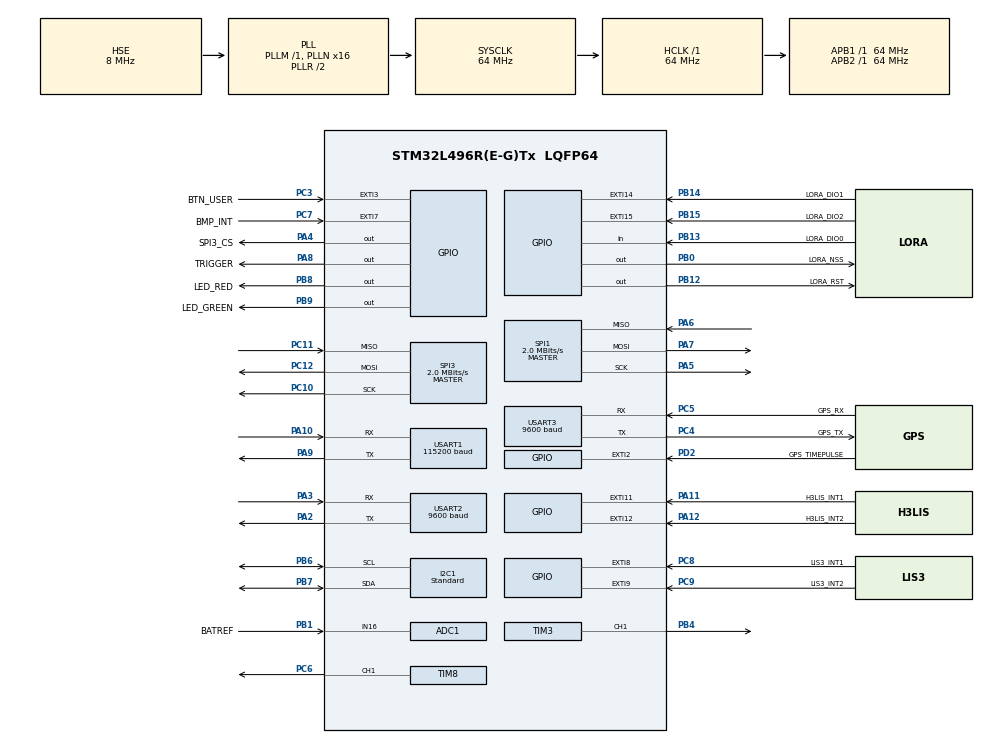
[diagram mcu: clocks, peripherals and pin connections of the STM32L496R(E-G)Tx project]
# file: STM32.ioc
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ADC1.Channel-0\#ChannelRegularConversion=ADC_CHANNEL_16
ADC1.NbrOfConversionFlag=1
ADC1.OffsetNumber-0\#ChannelRegularConversion=ADC_OFFSET_NONE
ADC1.Rank-0\#ChannelRegularConversion=1
ADC1.SamplingTime-0\#ChannelRegularConversion=ADC_SAMPLETIME_2CYCLES_5
ADC1.master=1
Dma.Request0=TIM8_CH1
Dma.TIM8_CH1.0.Direction=DMA_MEMORY_TO_PERIPH
Dma.TIM8_CH1.0.Instance=DMA2_Channel6
Dma.TIM8_CH1.0.MemDataAlignment=DMA_MDATAALIGN_HALFWORD
Dma.TIM8_CH1.0.MemInc=DMA_MINC_ENABLE
Dma.TIM8_CH1.0.Mode=DMA_NORMAL
Dma.TIM8_CH1.0.PeriphDataAlignment=DMA_PDATAALIGN_HALFWORD
Dma.TIM8_CH1.0.PeriphInc=DMA_PINC_DISABLE
Dma.TIM8_CH1.0.Priority=DMA_PRIORITY_LOW
FREERTOS.BinarySemaphores01=GPS_Task_Semaphore,Static,GPS_Task_SemaphoreControlBlock;Sensor_Buffer_Semaphore,Static,LoRa_Send_SemaphoreControlBlock;GPS_Buffer_Semaphore,Static,GPS_Buffer_SemaphoreControlBlock
FREERTOS.MEMORY_ALLOCATION=2
FREERTOS.Tasks01=defaultTask,0,4096,StartDefaultTask,Default,NULL,Static,defaultTaskBuffer,defaultTaskControlBlock;sensorReadTask,0,1024,StartSensorReadTask,Default,NULL,Static,sensorReadTaskBuffer,sensorReadTaskControlBlock;gpsParsingTask,-3,1024,startGpsParsingTask,Default,NULL,Static,gpsParsingTaskBuffer,gpsParsingTaskControlBlock;uartTask,-3,2048,StartUartTask,Default,NULL,Static,uartTaskBuffer,uartTaskControlBlock;sdCardTask,-3,4096,startSdCardTask,Default,NULL,Static,sdCardTaskBuffer,sdCardTaskControlBlock
FREERTOS.configCHECK_FOR_STACK_OVERFLOW=1
FREERTOS.configMINIMAL_STACK_SIZE=256
FREERTOS.configTOTAL_HEAP_SIZE=8192
FREERTOS.configUSE_COUNTING_SEMAPHORES=1
FREERTOS.configUSE_MALLOC_FAILED_HOOK=1
FREERTOS.configUSE_NEWLIB_REENTRANT=1
I2C1.I2C_Speed_Mode=I2C_Standard
I2C1.Timing=0x10707DBC
Mcu.Family=STM32L4
Mcu.Name=STM32L496R(E-G)Tx
Mcu.Package=LQFP64
NVIC.DMA2_Channel6_IRQn=true\:5\:0\:false\:false\:true\:true\:false\:true\:true
NVIC.PriorityGroup=NVIC_PRIORITYGROUP_4
NVIC.TIM1_BRK_TIM15_IRQn=true\:5\:0\:false\:false\:true\:true\:true\:true\:true
NVIC.TIM1_TRG_COM_TIM17_IRQn=true\:5\:0\:false\:false\:true\:true\:true\:true\:true
NVIC.TIM1_UP_TIM16_IRQn=true\:5\:0\:false\:false\:true\:true\:true\:true\:true
NVIC.TIM2_IRQn=true\:15\:0\:false\:false\:true\:false\:false\:true\:true
NVIC.TIM3_IRQn=true\:5\:0\:false\:false\:true\:true\:true\:true\:true
NVIC.TimeBase=TIM2_IRQn
NVIC.TimeBaseIP=TIM2
NVIC.USART1_IRQn=true\:5\:0\:false\:false\:true\:true\:true\:true\:true
NVIC.USART2_IRQn=true\:5\:0\:false\:false\:true\:true\:true\:true\:true
NVIC.USART3_IRQn=true\:5\:0\:false\:false\:true\:true\:true\:true\:true
PA0.Signal=USART2_CTS
PA1.Signal=USART2_RTS
PA10.Mode=Asynchronous
PA10.Signal=USART1_RX
PA11.GPIO_Label=H3LIS_INT1
PA11.Signal=GPXTI11
PA12.GPIO_Label=H3LIS_INT2
PA12.Signal=GPXTI12
PA2.Mode=Asynchronous
PA2.Signal=USART2_TX
PA3.Mode=Asynchronous
PA3.Signal=USART2_RX
PA4.GPIO_Label=SPI3_CS
PA4.Signal=GPIO_Output
PA5.Mode=Full_Duplex_Master
PA5.Signal=SPI1_SCK
PA6.Mode=Full_Duplex_Master
PA6.Signal=SPI1_MISO
PA7.Mode=Full_Duplex_Master
PA7.Signal=SPI1_MOSI
PA8.GPIO_Label=TRIGGER
PA8.GPIO_PuPd=GPIO_PULLUP
PA8.Signal=GPIO_Output
PA9.Mode=Asynchronous
PA9.Signal=USART1_TX
PB0.GPIO_Label=LORA_NSS
PB0.GPIO_PuPd=GPIO_PULLUP
PB0.PinState=GPIO_PIN_SET
PB0.Signal=GPIO_Output
PB1.GPIO_Label=BATREF
PB1.Signal=ADCx_IN16
PB12.GPIO_Label=LORA_RST
PB12.PinState=GPIO_PIN_SET
PB12.Signal=GPIO_Output
PB13.GPIO_Label=LORA_DIO0
PB13.Signal=GPIO_Input
PB14.GPIO_Label=LORA_DIO1
PB14.Signal=GPXTI14
PB15.GPIO_Label=LORA_DIO2
PB15.Signal=GPXTI15
PB4\ (NJTRST).Signal=S_TIM3_CH1
PB6.Mode=I2C
PB6.Signal=I2C1_SCL
PB7.Mode=I2C
PB7.Signal=I2C1_SDA
PB8.GPIO_Label=LED_RED
PB8.Signal=GPIO_Output
PB9.GPIO_Label=LED_GREEN
PB9.Signal=GPIO_Output
PC10.Mode=Full_Duplex_Master
PC10.Signal=SPI3_SCK
PC11.Mode=Full_Duplex_Master
PC11.Signal=SPI3_MISO
PC12.Mode=Full_Duplex_Master
PC12.Signal=SPI3_MOSI
PC14-OSC32_IN\ (PC14).Mode=LSE-External-Oscillator
PC14-OSC32_IN\ (PC14).Signal=RCC_OSC32_IN
PC15-OSC32_OUT\ (PC15).Mode=LSE-External-Oscillator
PC15-OSC32_OUT\ (PC15).Signal=RCC_OSC32_OUT
PC3.GPIO_Label=BTN_USER
PC3.Signal=GPXTI3
PC4.GPIO_Label=GPS_TX
PC4.Mode=Asynchronous
PC4.Signal=USART3_TX
PC5.GPIO_Label=GPS_RX
PC5.Mode=Asynchronous
PC5.Signal=USART3_RX
PC6.Signal=S_TIM8_CH1
PC7.GPIO_Label=BMP_INT
PC7.Signal=GPXTI7
PC8.GPIO_Label=LIS3_INT1
PC8.Signal=GPXTI8
PC9.GPIO_Label=LIS3_INT2
PC9.Signal=GPXTI9
PD2.GPIO_Label=GPS_TIMEPULSE
PD2.Signal=GPXTI2
PH0-OSC_IN\ (PH0).Mode=HSE-External-Oscillator
PH0-OSC_IN\ (PH0).Signal=RCC_OSC_IN
PH1-OSC_OUT\ (PH1).Mode=HSE-External-Oscillator
PH1-OSC_OUT\ (PH1).Signal=RCC_OSC_OUT
ProjectManager.HeapSize=0x2000
ProjectManager.StackSize=0x4000
ProjectManager.TargetToolchain=STM32CubeIDE
RCC.ADCFreq_Value=32000000
RCC.AHBFreq_Value=64000000
RCC.APB1Freq_Value=64000000
RCC.APB1TimFreq_Value=64000000
RCC.APB2Freq_Value=64000000
RCC.APB2TimFreq_Value=64000000
RCC.CortexFreq_Value=64000000
RCC.HCLKFreq_Value=64000000
RCC.HSE_VALUE=8000000
RCC.HSI48_VALUE=48000000
RCC.HSI_VALUE=16000000
RCC.MSI_VALUE=4000000
RCC.PLLN=16
RCC.PLLSourceVirtual=RCC_PLLSOURCE_HSE
RCC.SYSCLKFreq_VALUE=64000000
RCC.SYSCLKSource=RCC_SYSCLKSOURCE_PLLCLK
RCC.USBFreq_Value=32000000
RCC.VCOOutputFreq_Value=128000000
SH.ADCx_IN16.0=ADC1_IN16,IN16-Single-Ended
SH.S_TIM3_CH1.0=TIM3_CH1,PWM Generation1 CH1
SH.S_TIM8_CH1.0=TIM8_CH1,PWM Generation1 CH1
SPI1.BaudRatePrescaler=SPI_BAUDRATEPRESCALER_32
SPI1.CalculateBaudRate=2.0 MBits/s
SPI1.DataSize=SPI_DATASIZE_8BIT
SPI1.Direction=SPI_DIRECTION_2LINES
SPI1.Mode=SPI_MODE_MASTER
SPI1.NSSPMode=SPI_NSS_PULSE_DISABLE
SPI1.VirtualType=VM_MASTER
SPI3.BaudRatePrescaler=SPI_BAUDRATEPRESCALER_32
SPI3.CalculateBaudRate=2.0 MBits/s
SPI3.DataSize=SPI_DATASIZE_8BIT
SPI3.Direction=SPI_DIRECTION_2LINES
SPI3.Mode=SPI_MODE_MASTER
SPI3.VirtualType=VM_MASTER
TIM15.ClockDivision=TIM_CLOCKDIVISION_DIV1
TIM15.Period=65501
TIM15.Prescaler=58623
TIM16.Period=62499
TIM16.Prescaler=1023
TIM17.Period=63999
TIM3.Channel-PWM\ Generation1\ CH1=TIM_CHANNEL_1
TIM3.Period=20000
TIM8.Channel-PWM\ Generation1\ CH1=TIM_CHANNEL_1
TIM8.OCPolarity_1=TIM_OCPOLARITY_LOW
TIM8.Period=3000
TIM8.Prescaler=64000-1
USART1.BaudRate=115200
USART1.VirtualMode-Asynchronous=VM_ASYNC
USART2.BaudRate=9600
USART2.VirtualMode-Asynchronous=VM_ASYNC
USART3.BaudRate=9600
USART3.VirtualMode-Asynchronous=VM_ASYNC
VP_FATFS_VS_Generic.Mode=User_defined
VP_FREERTOS_VS_CMSIS_V1.Mode=CMSIS_V1
VP_SYS_VS_tim2.Mode=TIM2
VP_TIM15_VS_OPM.Mode=OPM_bit
VP_TIM16_VS_ClockSourceINT.Mode=Enable_Timer
VP_TIM17_VS_ClockSourceINT.Mode=Enable_Timer
VP_TIM3_VS_ClockSourceINT.Mode=Internal
VP_TIM8_VS_ClockSourceINT.Mode=Internal
board=custom

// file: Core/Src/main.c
/* USER CODE BEGIN Header */
/**
  ******************************************************************************
  * @file           : main.c
  * @brief          : Main program body
  ******************************************************************************
  * @attention
  *
  * Copyright (c) 2024 STMicroelectronics.
  * All rights reserved.
  *
  * This software is licensed under terms that can be found in the LICENSE file
  * in the root directory of this software component.
  * If no LICENSE file comes with this software, it is provided AS-IS.
  *
  ******************************************************************************
  */
/* USER CODE END Header */
#include "main.h"
#include "cmsis_os.h"
#include "fatfs.h"

/* USER CODE BEGIN Includes */

#include "lis3dh_reg.h"
#include "BMP390.h"
#include "debug_printf.h"
#include <stdio.h>
#include "indicator_utils.h"
#include "SX1278.h"
#include "gps_driver.h"
#include "lora_handler.h"
#include "sensors_handler.h"
#include "uart_nrf52.h"
#include "device_config.h"
#include "sd_card_handler.h"

/* USER CODE END Includes */

ADC_HandleTypeDef hadc1;

I2C_HandleTypeDef hi2c1;

SPI_HandleTypeDef hspi1;
SPI_HandleTypeDef hspi3;

TIM_HandleTypeDef htim3;
TIM_HandleTypeDef htim8;
TIM_HandleTypeDef htim15;
TIM_HandleTypeDef htim16;
TIM_HandleTypeDef htim17;
DMA_HandleTypeDef hdma_tim8_ch1;

UART_HandleTypeDef huart1;
UART_HandleTypeDef huart2;
UART_HandleTypeDef huart3;

osThreadId defaultTaskHandle;
uint32_t defaultTaskBuffer[ 4096 ];
osStaticThreadDef_t defaultTaskControlBlock;
osThreadId sensorReadTaskHandle;
uint32_t sensorReadTaskBuffer[ 1024 ];
osStaticThreadDef_t sensorReadTaskControlBlock;
osThreadId gpsParsingTaskHandle;
uint32_t gpsParsingTaskBuffer[ 1024 ];
osStaticThreadDef_t gpsParsingTaskControlBlock;
osThreadId uartTaskHandle;
uint32_t uartTaskBuffer[ 2048 ];
osStaticThreadDef_t uartTaskControlBlock;
osThreadId sdCardTaskHandle;
uint32_t sdCardTaskBuffer[ 4096 ];
osStaticThreadDef_t sdCardTaskControlBlock;
osSemaphoreId GPS_Task_SemaphoreHandle;
osStaticSemaphoreDef_t GPS_Task_SemaphoreControlBlock;
osSemaphoreId Sensor_Buffer_SemaphoreHandle;
osStaticSemaphoreDef_t LoRa_Send_SemaphoreControlBlock;
osSemaphoreId GPS_Buffer_SemaphoreHandle;
osStaticSemaphoreDef_t GPS_Buffer_SemaphoreControlBlock;
/* USER CODE BEGIN PV */

extern volatile bool tx_lock;
extern DeviceConfig device_config;

/* USER CODE END PV */

void SystemClock_Config(void);
static void MX_GPIO_Init(void);
static void MX_DMA_Init(void);
static void MX_I2C1_Init(void);
static void MX_SPI1_Init(void);
static void MX_SPI3_Init(void);
static void MX_USART2_UART_Init(void);
static void MX_USART3_UART_Init(void);
static void MX_TIM8_Init(void);
static void MX_USART1_UART_Init(void);
static void MX_TIM17_Init(void);
static void MX_TIM3_Init(void);
static void MX_TIM16_Init(void);
static void MX_ADC1_Init(void);
static void MX_TIM15_Init(void);
void StartDefaultTask(void const * argument);
void StartSensorReadTask(void const * argument);
void startGpsParsingTask(void const * argument);
void StartUartTask(void const * argument);
void startSdCardTask(void const * argument);

/* USER CODE BEGIN 0 */

// Map printf to UART
int _write(int file, char *ptr, int len) {
    HAL_UART_Transmit_IT(&huart1, (uint8_t *) ptr, len);
    return len;
}

void HAL_UART_TxCpltCallback(UART_HandleTypeDef *huart)
{
    if (huart->Instance == USART1)
    {
        // Transmission completed
    }
    if(huart->Instance == USART2) {
        tx_lock = false;
    }

}

uint8_t usart3_rx_buff[1];
void HAL_UART_RxCpltCallback(UART_HandleTypeDef *huart)
{
    if(huart->Instance == USART3) {
//        printf("%c", Rx_data[0]);
        gps_uart_callback(usart3_rx_buff[0]);
        HAL_UART_Receive_IT(&huart3, usart3_rx_buff, 1);
    }
    if(huart->Instance == USART2) {
        on_nrf_uart_receive();
    }
}

/* USER CODE END 0 */

int main(void)
{

  /* MCU Configuration--------------------------------------------------------*/

  /* Reset of all peripherals, Initializes the Flash interface and the Systick. */
  HAL_Init();

  /* Configure the system clock */
  SystemClock_Config();

  /* Initialize all configured peripherals */
  MX_GPIO_Init();
  MX_DMA_Init();
  MX_I2C1_Init();
  MX_SPI1_Init();
  MX_SPI3_Init();
  MX_USART2_UART_Init();
  MX_USART3_UART_Init();
  MX_TIM8_Init();
  MX_USART1_UART_Init();
  MX_FATFS_Init();
  MX_TIM17_Init();
  MX_TIM3_Init();
  MX_TIM16_Init();
  MX_ADC1_Init();
  MX_TIM15_Init();
  /* USER CODE BEGIN 2 */

    // Start by loading the configuration from flash
    load_device_config();

    // Print out the loaded configuration
    debugPrint("Loaded configuration: \n");
    HAL_Delay(2);
    debugPrintf("LoRa Frequency: %lu\n", device_config.lora_frequency);
    HAL_Delay(2);
    debugPrintf("LoRa TX Power: %u\n", device_config.lora_tx_power);
    HAL_Delay(2);
    debugPrintf("LoRa Bandwidth: %lu\n", device_config.lora_bandwidth);
    HAL_Delay(2);
    debugPrintf("LoRa Sync Word: %u\n", device_config.lora_sync_word);
    HAL_Delay(2);
    debugPrintf("LoRa Spreading Factor: %u\n", device_config.lora_spreading_factor);
    HAL_Delay(2);

    // Initialize the lora module
    lora_handler_init();
    HAL_TIM_Base_Start_IT(&htim16);

    // Initialize the sensors
    sensors_init();

    // PWM configuration for INDICATOR
    TIM8->CCR1 = 200; // This is the duty cycle (2800/3000 = 93.3% of time o// n, 6.7% of time off - and it lights when it is off)
    HAL_TIM_PWM_Start(&htim8, TIM_CHANNEL_1);

    // PWM configuration for PIEZO
    TIM3->CCR1 = 14000;
//    HAL_TIM_PWM_Start(&htim3, TIM_CHANNEL_1); // Do not start the PWM right away.

    // Initialize comm to nRF52
    init_nrf_uart_comm();

    // Start callback listeners etc.
    disable_unused_nmea_sentences(&huart3); // Send a command to GPS module to disable unused NMEA sentences
    HAL_UART_Receive_IT (&huart3, usart3_rx_buff, 1); // Receive buffer for GPS data

  /* USER CODE END 2 */

  /* Create the semaphores(s) */
  /* definition and creation of GPS_Task_Semaphore */
  osSemaphoreStaticDef(GPS_Task_Semaphore, &GPS_Task_SemaphoreControlBlock);
  GPS_Task_SemaphoreHandle = osSemaphoreCreate(osSemaphore(GPS_Task_Semaphore), 1);

  /* definition and creation of Sensor_Buffer_Semaphore */
  osSemaphoreStaticDef(Sensor_Buffer_Semaphore, &LoRa_Send_SemaphoreControlBlock);
  Sensor_Buffer_SemaphoreHandle = osSemaphoreCreate(osSemaphore(Sensor_Buffer_Semaphore), 1);

  /* definition and creation of GPS_Buffer_Semaphore */
  osSemaphoreStaticDef(GPS_Buffer_Semaphore, &GPS_Buffer_SemaphoreControlBlock);
  GPS_Buffer_SemaphoreHandle = osSemaphoreCreate(osSemaphore(GPS_Buffer_Semaphore), 1);

  /* Create the thread(s) */
  /* definition and creation of defaultTask */
  osThreadStaticDef(defaultTask, StartDefaultTask, osPriorityNormal, 0, 4096, defaultTaskBuffer, &defaultTaskControlBlock);
  defaultTaskHandle = osThreadCreate(osThread(defaultTask), NULL);

  /* definition and creation of sensorReadTask */
  osThreadStaticDef(sensorReadTask, StartSensorReadTask, osPriorityNormal, 0, 1024, sensorReadTaskBuffer, &sensorReadTaskControlBlock);
  sensorReadTaskHandle = osThreadCreate(osThread(sensorReadTask), NULL);

  /* definition and creation of gpsParsingTask */
  osThreadStaticDef(gpsParsingTask, startGpsParsingTask, osPriorityIdle, 0, 1024, gpsParsingTaskBuffer, &gpsParsingTaskControlBlock);
  gpsParsingTaskHandle = osThreadCreate(osThread(gpsParsingTask), NULL);

  /* definition and creation of uartTask */
  osThreadStaticDef(uartTask, StartUartTask, osPriorityIdle, 0, 2048, uartTaskBuffer, &uartTaskControlBlock);
  uartTaskHandle = osThreadCreate(osThread(uartTask), NULL);

  /* definition and creation of sdCardTask */
  osThreadStaticDef(sdCardTask, startSdCardTask, osPriorityIdle, 0, 4096, sdCardTaskBuffer, &sdCardTaskControlBlock);
  sdCardTaskHandle = osThreadCreate(osThread(sdCardTask), NULL);

  /* Start scheduler */
  osKernelStart();

  /* We should never get here as control is now taken by the scheduler */
  /* Infinite loop */
  while (1)
  {

    /* USER CODE BEGIN 3 */
//    printf("Hello, world!\n");
    osDelay(1000);
  }
  /* USER CODE END 3 */
}

void SystemClock_Config(void)
{
  RCC_OscInitTypeDef RCC_OscInitStruct = {0};
  RCC_ClkInitTypeDef RCC_ClkInitStruct = {0};

  /** Configure the main internal regulator output voltage
  */
  if (HAL_PWREx_ControlVoltageScaling(PWR_REGULATOR_VOLTAGE_SCALE1) != HAL_OK)
  {
    Error_Handler();
  }

  /** Initializes the RCC Oscillators according to the specified parameters
  * in the RCC_OscInitTypeDef structure.
  */
  RCC_OscInitStruct.OscillatorType = RCC_OSCILLATORTYPE_HSE;
  RCC_OscInitStruct.HSEState = RCC_HSE_ON;
  RCC_OscInitStruct.PLL.PLLState = RCC_PLL_ON;
  RCC_OscInitStruct.PLL.PLLSource = RCC_PLLSOURCE_HSE;
  RCC_OscInitStruct.PLL.PLLM = 1;
  RCC_OscInitStruct.PLL.PLLN = 16;
  RCC_OscInitStruct.PLL.PLLP = RCC_PLLP_DIV2;
  RCC_OscInitStruct.PLL.PLLQ = RCC_PLLQ_DIV2;
  RCC_OscInitStruct.PLL.PLLR = RCC_PLLR_DIV2;
  if (HAL_RCC_OscConfig(&RCC_OscInitStruct) != HAL_OK)
  {
    Error_Handler();
  }

  /** Initializes the CPU, AHB and APB buses clocks
  */
  RCC_ClkInitStruct.ClockType = RCC_CLOCKTYPE_HCLK|RCC_CLOCKTYPE_SYSCLK
                              |RCC_CLOCKTYPE_PCLK1|RCC_CLOCKTYPE_PCLK2;
  RCC_ClkInitStruct.SYSCLKSource = RCC_SYSCLKSOURCE_PLLCLK;
  RCC_ClkInitStruct.AHBCLKDivider = RCC_SYSCLK_DIV1;
  RCC_ClkInitStruct.APB1CLKDivider = RCC_HCLK_DIV1;
  RCC_ClkInitStruct.APB2CLKDivider = RCC_HCLK_DIV1;

  if (HAL_RCC_ClockConfig(&RCC_ClkInitStruct, FLASH_LATENCY_3) != HAL_OK)
  {
    Error_Handler();
  }
}

static void MX_ADC1_Init(void)
{

  ADC_MultiModeTypeDef multimode = {0};
  ADC_ChannelConfTypeDef sConfig = {0};

  /** Common config
  */
  hadc1.Instance = ADC1;
  hadc1.Init.ClockPrescaler = ADC_CLOCK_ASYNC_DIV1;
  hadc1.Init.Resolution = ADC_RESOLUTION_12B;
  hadc1.Init.DataAlign = ADC_DATAALIGN_RIGHT;
  hadc1.Init.ScanConvMode = ADC_SCAN_DISABLE;
  hadc1.Init.EOCSelection = ADC_EOC_SINGLE_CONV;
  hadc1.Init.LowPowerAutoWait = DISABLE;
  hadc1.Init.ContinuousConvMode = DISABLE;
  hadc1.Init.NbrOfConversion = 1;
  hadc1.Init.DiscontinuousConvMode = DISABLE;
  hadc1.Init.ExternalTrigConv = ADC_SOFTWARE_START;
  hadc1.Init.ExternalTrigConvEdge = ADC_EXTERNALTRIGCONVEDGE_NONE;
  hadc1.Init.DMAContinuousRequests = DISABLE;
  hadc1.Init.Overrun = ADC_OVR_DATA_PRESERVED;
  hadc1.Init.OversamplingMode = DISABLE;
  if (HAL_ADC_Init(&hadc1) != HAL_OK)
  {
    Error_Handler();
  }

  /** Configure the ADC multi-mode
  */
  multimode.Mode = ADC_MODE_INDEPENDENT;
  if (HAL_ADCEx_MultiModeConfigChannel(&hadc1, &multimode) != HAL_OK)
  {
    Error_Handler();
  }

  /** Configure Regular Channel
  */
  sConfig.Channel = ADC_CHANNEL_16;
  sConfig.Rank = ADC_REGULAR_RANK_1;
  sConfig.SamplingTime = ADC_SAMPLETIME_2CYCLES_5;
  sConfig.SingleDiff = ADC_SINGLE_ENDED;
  sConfig.OffsetNumber = ADC_OFFSET_NONE;
  sConfig.Offset = 0;
  if (HAL_ADC_ConfigChannel(&hadc1, &sConfig) != HAL_OK)
  {
    Error_Handler();
  }

}

static void MX_I2C1_Init(void)
{

  hi2c1.Instance = I2C1;
  hi2c1.Init.Timing = 0x10707DBC;
  hi2c1.Init.OwnAddress1 = 0;
  hi2c1.Init.AddressingMode = I2C_ADDRESSINGMODE_7BIT;
  hi2c1.Init.DualAddressMode = I2C_DUALADDRESS_DISABLE;
  hi2c1.Init.OwnAddress2 = 0;
  hi2c1.Init.OwnAddress2Masks = I2C_OA2_NOMASK;
  hi2c1.Init.GeneralCallMode = I2C_GENERALCALL_DISABLE;
  hi2c1.Init.NoStretchMode = I2C_NOSTRETCH_DISABLE;
  if (HAL_I2C_Init(&hi2c1) != HAL_OK)
  {
    Error_Handler();
  }

  /** Configure Analogue filter
  */
  if (HAL_I2CEx_ConfigAnalogFilter(&hi2c1, I2C_ANALOGFILTER_ENABLE) != HAL_OK)
  {
    Error_Handler();
  }

  /** Configure Digital filter
  */
  if (HAL_I2CEx_ConfigDigitalFilter(&hi2c1, 0) != HAL_OK)
  {
    Error_Handler();
  }

}

static void MX_SPI1_Init(void)
{

  /* SPI1 parameter configuration*/
  hspi1.Instance = SPI1;
  hspi1.Init.Mode = SPI_MODE_MASTER;
  hspi1.Init.Direction = SPI_DIRECTION_2LINES;
  hspi1.Init.DataSize = SPI_DATASIZE_8BIT;
  hspi1.Init.CLKPolarity = SPI_POLARITY_LOW;
  hspi1.Init.CLKPhase = SPI_PHASE_1EDGE;
  hspi1.Init.NSS = SPI_NSS_SOFT;
  hspi1.Init.BaudRatePrescaler = SPI_BAUDRATEPRESCALER_32;
  hspi1.Init.FirstBit = SPI_FIRSTBIT_MSB;
  hspi1.Init.TIMode = SPI_TIMODE_DISABLE;
  hspi1.Init.CRCCalculation = SPI_CRCCALCULATION_DISABLE;
  hspi1.Init.CRCPolynomial = 7;
  hspi1.Init.CRCLength = SPI_CRC_LENGTH_DATASIZE;
  hspi1.Init.NSSPMode = SPI_NSS_PULSE_DISABLE;
  if (HAL_SPI_Init(&hspi1) != HAL_OK)
  {
    Error_Handler();
  }

}

static void MX_SPI3_Init(void)
{

  /* SPI3 parameter configuration*/
  hspi3.Instance = SPI3;
  hspi3.Init.Mode = SPI_MODE_MASTER;
  hspi3.Init.Direction = SPI_DIRECTION_2LINES;
  hspi3.Init.DataSize = SPI_DATASIZE_8BIT;
  hspi3.Init.CLKPolarity = SPI_POLARITY_LOW;
  hspi3.Init.CLKPhase = SPI_PHASE_1EDGE;
  hspi3.Init.NSS = SPI_NSS_SOFT;
  hspi3.Init.BaudRatePrescaler = SPI_BAUDRATEPRESCALER_32;
  hspi3.Init.FirstBit = SPI_FIRSTBIT_MSB;
  hspi3.Init.TIMode = SPI_TIMODE_DISABLE;
  hspi3.Init.CRCCalculation = SPI_CRCCALCULATION_DISABLE;
  hspi3.Init.CRCPolynomial = 7;
  hspi3.Init.CRCLength = SPI_CRC_LENGTH_DATASIZE;
  hspi3.Init.NSSPMode = SPI_NSS_PULSE_ENABLE;
  if (HAL_SPI_Init(&hspi3) != HAL_OK)
  {
    Error_Handler();
  }

}

static void MX_TIM3_Init(void)
{

  TIM_ClockConfigTypeDef sClockSourceConfig = {0};
  TIM_MasterConfigTypeDef sMasterConfig = {0};
  TIM_OC_InitTypeDef sConfigOC = {0};

  htim3.Instance = TIM3;
  htim3.Init.Prescaler = 0;
  htim3.Init.CounterMode = TIM_COUNTERMODE_UP;
  htim3.Init.Period = 20000;
  htim3.Init.ClockDivision = TIM_CLOCKDIVISION_DIV1;
  htim3.Init.AutoReloadPreload = TIM_AUTORELOAD_PRELOAD_DISABLE;
  if (HAL_TIM_Base_Init(&htim3) != HAL_OK)
  {
    Error_Handler();
  }
  sClockSourceConfig.ClockSource = TIM_CLOCKSOURCE_INTERNAL;
  if (HAL_TIM_ConfigClockSource(&htim3, &sClockSourceConfig) != HAL_OK)
  {
    Error_Handler();
  }
  if (HAL_TIM_PWM_Init(&htim3) != HAL_OK)
  {
    Error_Handler();
  }
  sMasterConfig.MasterOutputTrigger = TIM_TRGO_RESET;
  sMasterConfig.MasterSlaveMode = TIM_MASTERSLAVEMODE_DISABLE;
  if (HAL_TIMEx_MasterConfigSynchronization(&htim3, &sMasterConfig) != HAL_OK)
  {
    Error_Handler();
  }
  sConfigOC.OCMode = TIM_OCMODE_PWM1;
  sConfigOC.Pulse = 0;
  sConfigOC.OCPolarity = TIM_OCPOLARITY_HIGH;
  sConfigOC.OCFastMode = TIM_OCFAST_DISABLE;
  if (HAL_TIM_PWM_ConfigChannel(&htim3, &sConfigOC, TIM_CHANNEL_1) != HAL_OK)
  {
    Error_Handler();
  }
  HAL_TIM_MspPostInit(&htim3);

}

static void MX_TIM8_Init(void)
{

  TIM_ClockConfigTypeDef sClockSourceConfig = {0};
  TIM_MasterConfigTypeDef sMasterConfig = {0};
  TIM_OC_InitTypeDef sConfigOC = {0};
  TIM_BreakDeadTimeConfigTypeDef sBreakDeadTimeConfig = {0};

  htim8.Instance = TIM8;
  htim8.Init.Prescaler = 64000-1;
  htim8.Init.CounterMode = TIM_COUNTERMODE_UP;
  htim8.Init.Period = 3000;
  htim8.Init.ClockDivision = TIM_CLOCKDIVISION_DIV1;
  htim8.Init.RepetitionCounter = 0;
  htim8.Init.AutoReloadPreload = TIM_AUTORELOAD_PRELOAD_DISABLE;
  if (HAL_TIM_Base_Init(&htim8) != HAL_OK)
  {
    Error_Handler();
  }
  sClockSourceConfig.ClockSource = TIM_CLOCKSOURCE_INTERNAL;
  if (HAL_TIM_ConfigClockSource(&htim8, &sClockSourceConfig) != HAL_OK)
  {
    Error_Handler();
  }
  if (HAL_TIM_PWM_Init(&htim8) != HAL_OK)
  {
    Error_Handler();
  }
  sMasterConfig.MasterOutputTrigger = TIM_TRGO_RESET;
  sMasterConfig.MasterOutputTrigger2 = TIM_TRGO2_RESET;
  sMasterConfig.MasterSlaveMode = TIM_MASTERSLAVEMODE_DISABLE;
  if (HAL_TIMEx_MasterConfigSynchronization(&htim8, &sMasterConfig) != HAL_OK)
  {
    Error_Handler();
  }
  sConfigOC.OCMode = TIM_OCMODE_PWM1;
  sConfigOC.Pulse = 0;
  sConfigOC.OCPolarity = TIM_OCPOLARITY_LOW;
  sConfigOC.OCNPolarity = TIM_OCNPOLARITY_HIGH;
  sConfigOC.OCFastMode = TIM_OCFAST_DISABLE;
  sConfigOC.OCIdleState = TIM_OCIDLESTATE_RESET;
  sConfigOC.OCNIdleState = TIM_OCNIDLESTATE_RESET;
  if (HAL_TIM_PWM_ConfigChannel(&htim8, &sConfigOC, TIM_CHANNEL_1) != HAL_OK)
  {
    Error_Handler();
  }
  sBreakDeadTimeConfig.OffStateRunMode = TIM_OSSR_DISABLE;
  sBreakDeadTimeConfig.OffStateIDLEMode = TIM_OSSI_DISABLE;
  sBreakDeadTimeConfig.LockLevel = TIM_LOCKLEVEL_OFF;
  sBreakDeadTimeConfig.DeadTime = 0;
  sBreakDeadTimeConfig.BreakState = TIM_BREAK_DISABLE;
  sBreakDeadTimeConfig.BreakPolarity = TIM_BREAKPOLARITY_HIGH;
  sBreakDeadTimeConfig.BreakFilter = 0;
  sBreakDeadTimeConfig.Break2State = TIM_BREAK2_DISABLE;
  sBreakDeadTimeConfig.Break2Polarity = TIM_BREAK2POLARITY_HIGH;
  sBreakDeadTimeConfig.Break2Filter = 0;
  sBreakDeadTimeConfig.AutomaticOutput = TIM_AUTOMATICOUTPUT_DISABLE;
  if (HAL_TIMEx_ConfigBreakDeadTime(&htim8, &sBreakDeadTimeConfig) != HAL_OK)
  {
    Error_Handler();
  }
  HAL_TIM_MspPostInit(&htim8);

}

static void MX_TIM15_Init(void)
{

  TIM_MasterConfigTypeDef sMasterConfig = {0};

  htim15.Instance = TIM15;
  htim15.Init.Prescaler = 58623;
  htim15.Init.CounterMode = TIM_COUNTERMODE_UP;
  htim15.Init.Period = 65501;
  htim15.Init.ClockDivision = TIM_CLOCKDIVISION_DIV1;
  htim15.Init.RepetitionCounter = 0;
  htim15.Init.AutoReloadPreload = TIM_AUTORELOAD_PRELOAD_DISABLE;
  if (HAL_TIM_OnePulse_Init(&htim15, TIM_OPMODE_SINGLE) != HAL_OK)
  {
    Error_Handler();
  }
  sMasterConfig.MasterOutputTrigger = TIM_TRGO_RESET;
  sMasterConfig.MasterSlaveMode = TIM_MASTERSLAVEMODE_DISABLE;
  if (HAL_TIMEx_MasterConfigSynchronization(&htim15, &sMasterConfig) != HAL_OK)
  {
    Error_Handler();
  }

}

static void MX_TIM16_Init(void)
{

  htim16.Instance = TIM16;
  htim16.Init.Prescaler = 1023;
  htim16.Init.CounterMode = TIM_COUNTERMODE_UP;
  htim16.Init.Period = 62499;
  htim16.Init.ClockDivision = TIM_CLOCKDIVISION_DIV1;
  htim16.Init.RepetitionCounter = 0;
  htim16.Init.AutoReloadPreload = TIM_AUTORELOAD_PRELOAD_DISABLE;
  if (HAL_TIM_Base_Init(&htim16) != HAL_OK)
  {
    Error_Handler();
  }

}

static void MX_TIM17_Init(void)
{

  htim17.Instance = TIM17;
  htim17.Init.Prescaler = 0;
  htim17.Init.CounterMode = TIM_COUNTERMODE_UP;
  htim17.Init.Period = 63999;
  htim17.Init.ClockDivision = TIM_CLOCKDIVISION_DIV1;
  htim17.Init.RepetitionCounter = 0;
  htim17.Init.AutoReloadPreload = TIM_AUTORELOAD_PRELOAD_DISABLE;
  if (HAL_TIM_Base_Init(&htim17) != HAL_OK)
  {
    Error_Handler();
  }

}

static void MX_USART1_UART_Init(void)
{

  huart1.Instance = USART1;
  huart1.Init.BaudRate = 115200;
  huart1.Init.WordLength = UART_WORDLENGTH_8B;
  huart1.Init.StopBits = UART_STOPBITS_1;
  huart1.Init.Parity = UART_PARITY_NONE;
  huart1.Init.Mode = UART_MODE_TX_RX;
  huart1.Init.HwFlowCtl = UART_HWCONTROL_NONE;
  huart1.Init.OverSampling = UART_OVERSAMPLING_16;
  huart1.Init.OneBitSampling = UART_ONE_BIT_SAMPLE_DISABLE;
  huart1.AdvancedInit.AdvFeatureInit = UART_ADVFEATURE_NO_INIT;
  if (HAL_UART_Init(&huart1) != HAL_OK)
  {
    Error_Handler();
  }

}

static void MX_USART2_UART_Init(void)
{

  huart2.Instance = USART2;
  huart2.Init.BaudRate = 9600;
  huart2.Init.WordLength = UART_WORDLENGTH_8B;
  huart2.Init.StopBits = UART_STOPBITS_1;
  huart2.Init.Parity = UART_PARITY_NONE;
  huart2.Init.Mode = UART_MODE_TX_RX;
  huart2.Init.HwFlowCtl = UART_HWCONTROL_NONE;
  huart2.Init.OverSampling = UART_OVERSAMPLING_16;
  huart2.Init.OneBitSampling = UART_ONE_BIT_SAMPLE_DISABLE;
  huart2.AdvancedInit.AdvFeatureInit = UART_ADVFEATURE_NO_INIT;
  if (HAL_UART_Init(&huart2) != HAL_OK)
  {
    Error_Handler();
  }

}

static void MX_USART3_UART_Init(void)
{

  huart3.Instance = USART3;
  huart3.Init.BaudRate = 9600;
  huart3.Init.WordLength = UART_WORDLENGTH_8B;
  huart3.Init.StopBits = UART_STOPBITS_1;
  huart3.Init.Parity = UART_PARITY_NONE;
  huart3.Init.Mode = UART_MODE_TX_RX;
  huart3.Init.HwFlowCtl = UART_HWCONTROL_NONE;
  huart3.Init.OverSampling = UART_OVERSAMPLING_16;
  huart3.Init.OneBitSampling = UART_ONE_BIT_SAMPLE_DISABLE;
  huart3.AdvancedInit.AdvFeatureInit = UART_ADVFEATURE_NO_INIT;
  if (HAL_UART_Init(&huart3) != HAL_OK)
  {
    Error_Handler();
  }

}

static void MX_DMA_Init(void)
{

  /* DMA controller clock enable */
  __HAL_RCC_DMA2_CLK_ENABLE();

  /* DMA interrupt init */
  /* DMA2_Channel6_IRQn interrupt configuration */
  HAL_NVIC_SetPriority(DMA2_Channel6_IRQn, 5, 0);
  HAL_NVIC_EnableIRQ(DMA2_Channel6_IRQn);

}

static void MX_GPIO_Init(void)
{
  GPIO_InitTypeDef GPIO_InitStruct = {0};

  /* GPIO Ports Clock Enable */
  __HAL_RCC_GPIOC_CLK_ENABLE();
  __HAL_RCC_GPIOH_CLK_ENABLE();
  __HAL_RCC_GPIOA_CLK_ENABLE();
  __HAL_RCC_GPIOB_CLK_ENABLE();
  __HAL_RCC_GPIOD_CLK_ENABLE();

  /*Configure GPIO pin Output Level */
  HAL_GPIO_WritePin(GPIOA, SPI3_CS_Pin|TRIGGER_Pin, GPIO_PIN_RESET);

  /*Configure GPIO pin Output Level */
  HAL_GPIO_WritePin(GPIOB, LORA_NSS_Pin|LORA_RST_Pin, GPIO_PIN_SET);

  /*Configure GPIO pin Output Level */
  HAL_GPIO_WritePin(GPIOB, LED_RED_Pin|LED_GREEN_Pin, GPIO_PIN_RESET);

  /*Configure GPIO pins : BTN_USER_Pin BMP_INT_Pin LIS3_INT1_Pin LIS3_INT2_Pin */
  GPIO_InitStruct.Pin = BTN_USER_Pin|BMP_INT_Pin|LIS3_INT1_Pin|LIS3_INT2_Pin;
  GPIO_InitStruct.Mode = GPIO_MODE_IT_RISING;
  GPIO_InitStruct.Pull = GPIO_NOPULL;
  HAL_GPIO_Init(GPIOC, &GPIO_InitStruct);

  /*Configure GPIO pin : SPI3_CS_Pin */
  GPIO_InitStruct.Pin = SPI3_CS_Pin;
  GPIO_InitStruct.Mode = GPIO_MODE_OUTPUT_PP;
  GPIO_InitStruct.Pull = GPIO_NOPULL;
  GPIO_InitStruct.Speed = GPIO_SPEED_FREQ_LOW;
  HAL_GPIO_Init(SPI3_CS_GPIO_Port, &GPIO_InitStruct);

  /*Configure GPIO pin : LORA_NSS_Pin */
  GPIO_InitStruct.Pin = LORA_NSS_Pin;
  GPIO_InitStruct.Mode = GPIO_MODE_OUTPUT_PP;
  GPIO_InitStruct.Pull = GPIO_PULLUP;
  GPIO_InitStruct.Speed = GPIO_SPEED_FREQ_LOW;
  HAL_GPIO_Init(LORA_NSS_GPIO_Port, &GPIO_InitStruct);

  /*Configure GPIO pins : LORA_RST_Pin LED_RED_Pin LED_GREEN_Pin */
  GPIO_InitStruct.Pin = LORA_RST_Pin|LED_RED_Pin|LED_GREEN_Pin;
  GPIO_InitStruct.Mode = GPIO_MODE_OUTPUT_PP;
  GPIO_InitStruct.Pull = GPIO_NOPULL;
  GPIO_InitStruct.Speed = GPIO_SPEED_FREQ_LOW;
  HAL_GPIO_Init(GPIOB, &GPIO_InitStruct);

  /*Configure GPIO pin : LORA_DIO0_Pin */
  GPIO_InitStruct.Pin = LORA_DIO0_Pin;
  GPIO_InitStruct.Mode = GPIO_MODE_INPUT;
  GPIO_InitStruct.Pull = GPIO_NOPULL;
  HAL_GPIO_Init(LORA_DIO0_GPIO_Port, &GPIO_InitStruct);

  /*Configure GPIO pins : LORA_DIO1_Pin LORA_DIO2_Pin */
  GPIO_InitStruct.Pin = LORA_DIO1_Pin|LORA_DIO2_Pin;
  GPIO_InitStruct.Mode = GPIO_MODE_IT_RISING;
  GPIO_InitStruct.Pull = GPIO_NOPULL;
  HAL_GPIO_Init(GPIOB, &GPIO_InitStruct);

  /*Configure GPIO pin : TRIGGER_Pin */
  GPIO_InitStruct.Pin = TRIGGER_Pin;
  GPIO_InitStruct.Mode = GPIO_MODE_OUTPUT_PP;
  GPIO_InitStruct.Pull = GPIO_PULLUP;
  GPIO_InitStruct.Speed = GPIO_SPEED_FREQ_LOW;
  HAL_GPIO_Init(TRIGGER_GPIO_Port, &GPIO_InitStruct);

  /*Configure GPIO pins : H3LIS_INT1_Pin H3LIS_INT2_Pin */
  GPIO_InitStruct.Pin = H3LIS_INT1_Pin|H3LIS_INT2_Pin;
  GPIO_InitStruct.Mode = GPIO_MODE_IT_RISING;
  GPIO_InitStruct.Pull = GPIO_NOPULL;
  HAL_GPIO_Init(GPIOA, &GPIO_InitStruct);

  /*Configure GPIO pin : GPS_TIMEPULSE_Pin */
  GPIO_InitStruct.Pin = GPS_TIMEPULSE_Pin;
  GPIO_InitStruct.Mode = GPIO_MODE_IT_RISING;
  GPIO_InitStruct.Pull = GPIO_NOPULL;
  HAL_GPIO_Init(GPS_TIMEPULSE_GPIO_Port, &GPIO_InitStruct);

}

void StartDefaultTask(void const * argument)
{
  /* USER CODE BEGIN 5 */
    indicate_startup(); // beep on startup
    debugPrint("Device started!\n");

  /* Infinite loop */

    // wait for sensors to measure first data before sending
    osDelay(1500);

//    for(;;)
//    {
//        // Send data to LoRa module
//        uart_send_lora_sync_word();
//        osDelay(15000);
//    }
    lora_task_work();
  /* USER CODE END 5 */
}

void StartSensorReadTask(void const * argument)
{
  /* USER CODE BEGIN StartSensorReadTask */
  /* Infinite loop */
  sensors_task_work();
  /* USER CODE END StartSensorReadTask */
}

void startGpsParsingTask(void const * argument)
{
  /* USER CODE BEGIN startGpsParsingTask */
  gps_parsing_task_work();
  /* USER CODE END startGpsParsingTask */
}

void StartUartTask(void const * argument)
{
  /* USER CODE BEGIN StartUartTask */

  // After restart send current configuration to sync with nRF52
    osDelay(500);
    uart_send_lora_bandwidth();
    osDelay(20);
    uart_send_lora_spreading_factor();
    osDelay(20);
    uart_send_lora_sync_word();
    osDelay(20);
    uart_send_lora_tx_power();
    osDelay(20);
    uart_send_lora_frequency();
  /* Infinite loop */
  for(;;)
  {
      process_uart_tx();
      process_uart_rx();
      osDelay(3);
  }
  /* USER CODE END StartUartTask */
}

void startSdCardTask(void const * argument)
{
  /* USER CODE BEGIN startSdCardTask */
  /* Infinite loop */
    osDelay(1500);
    init_sd_card();
  for(;;)
  {
    sd_card_thread_work();
  }
  /* USER CODE END startSdCardTask */
}

void HAL_TIM_PeriodElapsedCallback(TIM_HandleTypeDef *htim)
{
  if (htim->Instance == TIM2) {
    HAL_IncTick();
  }
}

void Error_Handler(void)
{
  __disable_irq();
  while (1)
  {
  }
}

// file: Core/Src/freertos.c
/* USER CODE BEGIN Header */
/**
  ******************************************************************************
  * File Name          : freertos.c
  * Description        : Code for freertos applications
  ******************************************************************************
  * @attention
  *
  * Copyright (c) 2024 STMicroelectronics.
  * All rights reserved.
  *
  * This software is licensed under terms that can be found in the LICENSE file
  * in the root directory of this software component.
  * If no LICENSE file comes with this software, it is provided AS-IS.
  *
  ******************************************************************************
  */
/* USER CODE END Header */

#include "FreeRTOS.h"
#include "task.h"
#include "main.h"

/* USER CODE BEGIN Includes */

#include "debug_printf.h"

/* USER CODE END Includes */

/* GetIdleTaskMemory prototype (linked to static allocation support) */
void vApplicationGetIdleTaskMemory( StaticTask_t **ppxIdleTaskTCBBuffer, StackType_t **ppxIdleTaskStackBuffer, uint32_t *pulIdleTaskStackSize );

/* Hook prototypes */
void vApplicationStackOverflowHook(xTaskHandle xTask, signed char *pcTaskName);
void vApplicationMallocFailedHook(void);

/* USER CODE BEGIN 4 */
__weak void vApplicationStackOverflowHook(xTaskHandle xTask, signed char *pcTaskName)
{
   /* Run time stack overflow checking is performed if
   configCHECK_FOR_STACK_OVERFLOW is defined to 1 or 2. This hook function is
   called if a stack overflow is detected. */
   debugPrintf("Stack overflow in task: %s\n", pcTaskName);
}
/* USER CODE END 4 */

/* USER CODE BEGIN 5 */
__weak void vApplicationMallocFailedHook(void)
{
   /* vApplicationMallocFailedHook() will only be called if
   configUSE_MALLOC_FAILED_HOOK is set to 1 in FreeRTOSConfig.h. It is a hook
   function that will get called if a call to pvPortMalloc() fails.
   pvPortMalloc() is called internally by the kernel whenever a task, queue,
   timer or semaphore is created. It is also called by various parts of the
   demo application. If heap_1.c or heap_2.c are used, then the size of the
   heap available to pvPortMalloc() is defined by configTOTAL_HEAP_SIZE in
   FreeRTOSConfig.h, and the xPortGetFreeHeapSize() API function can be used
   to query the size of free heap space that remains (although it does not
   provide information on how the remaining heap might be fragmented). */
    debugPrint("FreeRTOS malloc failed!\n");
}
/* USER CODE END 5 */

/* USER CODE BEGIN GET_IDLE_TASK_MEMORY */
static StaticTask_t xIdleTaskTCBBuffer;
static StackType_t xIdleStack[configMINIMAL_STACK_SIZE];

void vApplicationGetIdleTaskMemory( StaticTask_t **ppxIdleTaskTCBBuffer, StackType_t **ppxIdleTaskStackBuffer, uint32_t *pulIdleTaskStackSize )
{
  *ppxIdleTaskTCBBuffer = &xIdleTaskTCBBuffer;
  *ppxIdleTaskStackBuffer = &xIdleStack[0];
  *pulIdleTaskStackSize = configMINIMAL_STACK_SIZE;
  /* place for user code */
}
/* USER CODE END GET_IDLE_TASK_MEMORY */
